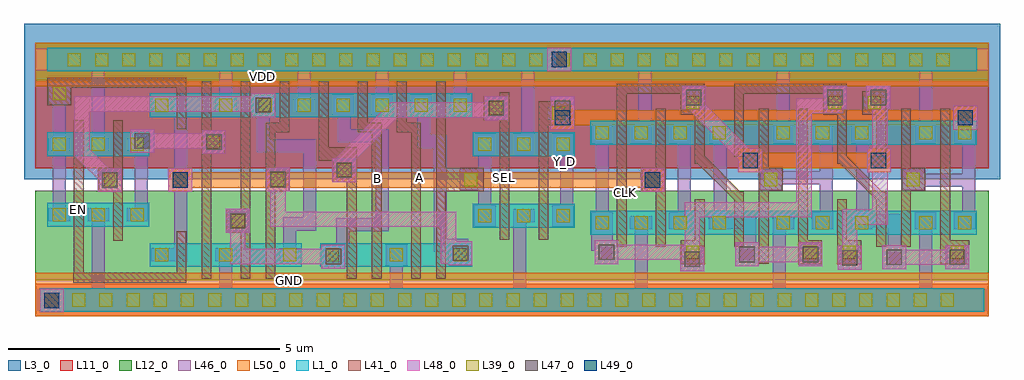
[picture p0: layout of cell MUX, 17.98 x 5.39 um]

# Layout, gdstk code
from math import pi, radians
import gdstk
lib = gdstk.Library(unit=1e-6, precision=1e-09)
def R(c, l, rs):  # rectangles x0, y0, x1, y1
    for r in rs: c.add(gdstk.rectangle(r[:2], r[2:], *l))
def A(c, l, x, y, w, h, nx, ny, dx, dy):  # array of equal rectangles
    R(c, l, [(x+i*dx, y+j*dy, x+i*dx+w, y+j*dy+h) for i in range(nx) for j in range(ny)])
def P(c, l, *ps):  # polygons
    for p in ps: c.add(gdstk.Polygon(p, *l))
L1_0 = (1, 0)
L3_0 = (3, 0)
L11_0 = (11, 0)
L12_0 = (12, 0)
L39_0 = (39, 0)
L41_0 = (41, 0)
L46_0 = (46, 0)
L47_0 = (47, 0)
L48_0 = (48, 0)
L49_0 = (49, 0)
L50_0 = (50, 0)

m2_m3_via_cdns_672215044 = lib.new_cell('M2_M3_via_CDNS_672215044340')
R(m2_m3_via_cdns_672215044, L48_0, [(-0.22,-0.22,0.22,0.22)])
R(m2_m3_via_cdns_672215044, L49_0, [(-0.14,-0.14,0.14,0.14)])
R(m2_m3_via_cdns_672215044, L50_0, [(-0.14,-0.14,0.14,0.14)])

m1_m2_via_cdns_672215044 = lib.new_cell('M1_M2_via_CDNS_672215044341')
R(m1_m2_via_cdns_672215044, L46_0, [(-0.22,-0.22,0.22,0.22)])
R(m1_m2_via_cdns_672215044, L47_0, [(-0.14,-0.14,0.14,0.14)])
R(m1_m2_via_cdns_672215044, L48_0, [(-0.22,-0.22,0.22,0.22)])

c_m2_m3_via_cdns_672215044 = lib.new_cell('M2_M3_via_CDNS_672215044342')
R(c_m2_m3_via_cdns_672215044, L48_0, [(-0.14,-0.14,0.14,0.14)])
R(c_m2_m3_via_cdns_672215044, L49_0, [(-0.14,-0.14,0.14,0.14)])
R(c_m2_m3_via_cdns_672215044, L50_0, [(-0.14,-0.14,0.14,0.14)])

c_m1_m2_via_cdns_672215044 = lib.new_cell('M1_M2_via_CDNS_672215044343')
R(c_m1_m2_via_cdns_672215044, L46_0, [(-0.29,-0.22,0.15,0.22)])
R(c_m1_m2_via_cdns_672215044, L47_0, [(-0.21,-0.14,0.07,0.14)])
R(c_m1_m2_via_cdns_672215044, L48_0, [(-0.29,-0.22,0.15,0.22)])

mux = lib.new_cell('MUX')
R(mux, L1_0, [(-9.34,-2.18,8.06,-1.74), (-7.31,-1.35,-4.51,-0.91), (-4.17,-1.35,-1.37,-0.91), (0.8,-0.76,7.92,-0.32), (-1.36,-0.63,0.52,-0.19), (-9.2,-0.61,-7.32,-0.17), (-9.2,0.69,-7.32,1.13), (-1.36,0.69,0.52,1.13), (0.8,0.9,7.92,1.34), (-7.31,1.41,-4.34,1.85), (-4.69,1.41,-1.37,1.85), (-9.2,2.25,7.92,2.69)])
R(mux, L3_0, [(-9.63,0.26,8.35,3.13)])
R(mux, L11_0, [(-9.42,-2.26,-5.16,-1.66), (-5.16,-2.26,8.14,-1.66), (-9.42,0.47,-8.34,2.07), (-9.16,0.47,-2.86,2.07), (-8.78,0.47,-5.02,2.07), (-3.74,0.47,8.14,2.07)])
R(mux, L12_0, [(-9.42,-1.6,8.14,0.05), (-8.78,-0.87,-6.46,0.05), (-9.42,2.09,8.14,2.78)])
A(mux, L39_0, -9.24, -2.08, 0.24, 0.24, 34, 1, 0.5, 0)
A(mux, L39_0, -7.21, -1.25, 0.24, 0.24, 3, 1, 1.18, 0)
A(mux, L39_0, -4.07, -1.25, 0.24, 0.24, 3, 1, 1.18, 0)
A(mux, L39_0, 0.9, -0.66, 0.24, 0.24, 4, 2, 0.72, 1.66)
A(mux, L39_0, 4.24, -0.66, 0.24, 0.24, 3, 2, 0.72, 1.66)
A(mux, L39_0, -1.26, -0.53, 0.24, 0.24, 3, 2, 0.72, 1.32)
A(mux, L39_0, -9.1, -0.51, 0.24, 0.24, 3, 2, 0.72, 1.3)
A(mux, L39_0, -6.03, 1.51, 0.24, 0.24, 7, 1, 0.72, 0)
A(mux, L39_0, -8.82, 2.35, 0.24, 0.24, 33, 1, 0.5, 0)
R(mux, L39_0, [(2.57,-1.2,2.81,-0.96), (4.73,-1.2,4.97,-0.96), (5.45,-1.2,5.69,-0.96), (7.44,-1.2,7.68,-0.96), (6.86,-0.66,7.1,-0.42), (7.58,-0.66,7.82,-0.42), (-5.8,-0.62,-5.56,-0.38), (-8.15,0.14,-7.91,0.38), (-5.08,0.14,-4.84,0.38), (-1.52,0.14,-1.28,0.38), (1.85,0.14,2.09,0.38), (4.01,0.14,4.25,0.38), (6.63,0.14,6.87,0.38), (-3.84,0.31,-3.6,0.55), (-6.26,0.83,-6.02,1.07), (6.86,1,7.1,1.24), (7.58,1,7.82,1.24), (0.1,1.36,0.34,1.6), (-1.06,1.45,-0.82,1.69), (-7.21,1.51,-6.97,1.75), (2.57,1.55,2.81,1.79), (5.19,1.55,5.43,1.79), (5.91,1.55,6.15,1.79), (-9.1,1.73,-8.86,1.97)])
R(mux, L41_0, [(-8.72,-1.64,-6.64,-1.46), (-8.71,-1.6,-8.53,1.35), (-6.82,-1.57,-6.64,-0.69), (-6.36,-1.57,-6.18,2.07), (-5.64,-1.57,-5.46,2.07), (-5.18,-1.57,-5,1.17), (-3.68,-1.57,-3.5,0.71), (-3.22,-1.57,-3.04,1.23), (-2.5,-1.57,-2.32,1.23), (-2.04,-1.57,-1.86,2.07), (2.47,-1.3,2.91,-0.86), (4.63,-1.3,5.07,-0.86), (5.35,-1.3,5.79,-0.86), (7.25,-1.3,7.43,1.56), (7.34,-1.3,7.78,-0.86), (3.91,-1.29,4.09,1.56), (5.35,-1.19,5.53,-0.1), (1.29,-0.98,1.47,1.87), (2.01,-0.98,2.19,1.56), (3.45,-0.98,3.63,0.03), (4.63,-0.98,4.81,1.56), (6.07,-0.98,6.25,0.03), (6.53,-0.98,6.71,1.56), (2.73,-0.88,2.91,-0.1), (-7.99,-0.87,-7.81,1.35), (-0.87,-0.85,-0.69,1.87), (-0.15,-0.85,0.03,1.7), (-5.9,-0.72,-5.46,-0.28), (-8.25,0.04,-7.81,0.48), (-5.18,0.04,-4.74,0.48), (-1.91,0.04,-1.16,0.48), (1.75,0.04,2.19,0.48), (3.91,0.04,4.35,0.48), (6.53,0.04,6.97,0.48), (-3.94,0.21,-3.5,0.65), (2.73,0.55,2.91,1.52), (5.35,0.55,5.53,1.76), (-4.2,0.61,-3.5,0.85), (-4.2,0.68,-4.02,2.07), (3.45,0.68,3.63,1.95), (6.07,0.68,6.25,1.5), (-6.36,0.73,-5.92,1.17), (-5.18,1.13,-4.74,1.31), (-3.48,1.13,-3.04,1.31), (-2.76,1.13,-2.32,1.31), (-4.92,1.15,-4.74,2.07), (-3.48,1.16,-3.3,2.07), (-6.82,1.19,-6.64,2.11), (-2.76,1.19,-2.58,2.07), (0,1.26,0.44,1.7), (-1.16,1.35,-0.72,1.79), (2.47,1.45,2.91,1.89), (5.09,1.45,5.53,1.89), (5.81,1.45,6.25,1.89), (-9.2,1.63,-8.76,2.07), (-9.2,1.95,-6.64,2.13)])
P(mux, L41_0, [(6.1,-0.14),(5.38,0.58),(5.38,0.66),(5.43,0.71),(5.51,0.71),(6.23,-0.01),(6.23,-0.09),(6.18,-0.14)],
  [(3.46,-0.12),(2.74,0.6),(2.74,0.68),(2.79,0.73),(2.87,0.73),(3.59,0.01),(3.59,-0.07),(3.54,-0.12)])
A(mux, L46_0, -4.15, -1.33, 0.4, 0.4, 3, 1, 1.18, 0)
A(mux, L46_0, 4.16, -0.66, 0.4, 0.32, 3, 1, 0.72, 0)
A(mux, L46_0, -9.18, -0.51, 0.4, 0.24, 3, 2, 0.72, 1.3)
A(mux, L46_0, -1.34, 0.71, 0.4, 0.4, 3, 1, 0.72, 0)
A(mux, L46_0, 1.54, 0.92, 0.4, 0.32, 3, 1, 0.72, 0)
A(mux, L46_0, -3.95, 1.43, 0.4, 0.4, 4, 1, 0.72, 0)
A(mux, L46_0, -6.11, 1.51, 0.4, 0.24, 3, 1, 0.72, 0)
R(mux, L46_0, [(-9.42,-2.16,8.14,-1.76), (-8.38,-1.92,-8.14,-0.27), (-0.62,-1.92,-0.38,-0.29), (1.62,-1.92,1.86,-0.42), (4.16,-1.92,4.4,-0.42), (6.86,-1.92,7.1,-0.49), (-6.03,-1.9,-5.79,-1.02), (-2.89,-1.9,-2.65,-1.02), (-7.29,-1.25,-6.62,-1.01), (-6.11,-1.25,-5.71,-1.01), (-4.93,-1.25,-4.53,-1.01), (2.49,-1.2,2.89,-0.96), (4.65,-1.2,5.05,-0.96), (5.37,-1.2,5.77,-0.96), (7.36,-1.2,7.76,-0.96), (0.82,-1.05,1.22,-0.34), (-5.88,-0.7,-5.48,-0.3), (1.54,-0.66,1.94,-0.42), (2.26,-0.66,2.66,-0.34), (2.98,-0.66,3.38,-0.34), (6.78,-0.66,7.18,-0.34), (7.5,-0.66,7.9,-0.34), (-1.34,-0.61,-0.94,-0.21), (0.1,-0.61,0.5,-0.21), (-1.26,-0.54,-1.02,1.05), (0.25,-0.54,0.49,1.05), (0.9,-0.54,1.14,1.05), (2.41,-0.54,2.65,1.05), (3.08,-0.54,3.32,1.05), (5.7,-0.54,5.94,1.05), (-0.62,-0.53,-0.22,-0.29), (-9.1,-0.51,-8.86,1.03), (-7.59,-0.51,-7.35,1.03), (5.03,-0.46,5.27,1.05), (7.65,-0.46,7.89,1.05), (-8.23,0.06,-7.83,0.46), (-5.16,0.06,-4.76,0.46), (-1.6,0.06,-1.2,0.46), (1.77,0.06,2.17,0.46), (3.93,0.06,4.33,0.46), (6.55,0.06,6.95,0.46), (-3.92,0.23,-3.52,0.63), (-6.34,0.75,-5.94,1.15), (-8.38,0.79,-8.14,2.4), (0.82,0.92,1.22,1.32), (4.16,0.92,4.56,1.32), (4.88,0.92,5.28,1.24), (5.6,0.92,6,1.24), (6.78,0.92,7.18,1.32), (7.5,0.92,7.9,1.32), (0.02,1.36,0.42,1.6), (-1.71,1.42,-1.47,2.4), (-6.03,1.5,-5.79,2.46), (-7.29,1.51,-6.89,1.75), (-4.59,1.51,-4.35,2.45), (-3.15,1.51,-2.91,2.46), (2.49,1.55,2.89,1.79), (5.11,1.55,5.51,1.79), (5.83,1.55,6.23,1.79), (-9.18,1.65,-8.78,1.97), (-9.42,2.27,8.14,2.67)])
P(mux, L46_0, [(7.6,-1.29),(7.44,-1.13),(7.44,-1.03),(7.51,-0.96),(7.61,-0.96),(7.77,-1.12),(7.77,-1.22),(7.7,-1.29)],
  [(3.66,-1.24),(3.59,-1.17),(3.59,-1.07),(3.69,-0.97),(3.79,-0.97),(3.86,-1.04),(3.86,-1.14),(3.76,-1.24)],
  [(0.16,1.37),(0.09,1.44),(0.09,1.54),(0.24,1.69),(0.34,1.69),(0.41,1.62),(0.41,1.52),(0.26,1.37)])
R(mux, L48_0, [(3.53,0.39,3.97,0.83), (5.9,0.39,6.34,0.83), (0.07,1.18,0.51,1.62)])
P(mux, L48_0, [(3.68,0.48),(2.57,1.59),(2.57,1.71),(2.65,1.79),(2.77,1.79),(3.88,0.68),(3.88,0.56),(3.8,0.48)],
  [(-3.79,0.48),(-3.87,0.56),(-3.87,0.68),(-2.87,1.68),(-2.75,1.68),(-2.67,1.6),(-2.67,1.48),(-3.67,0.48)],
  [(-8.11,0.11),(-8.7,0.7),(-8.7,0.82),(-8.62,0.9),(-8.5,0.9),(-7.91,0.31),(-7.91,0.19),(-7.99,0.11)])
R(mux, L50_0, [(-9.42,-2.26,8.14,-1.46), (-6.97,0.03,-6.53,0.47), (1.73,0.03,2.17,0.47), (3.53,0.39,3.97,0.83), (5.9,0.39,6.34,0.83), (7.49,1.17,7.93,1.61), (0.07,1.18,0.51,1.62), (-9.42,1.98,8.14,2.78)])
mux.add(gdstk.FlexPath([(5.53,1.93),(3.45,1.93)], 0.18, ends="flush", simple_path=True, layer=41, datatype=0))  # L41_0
mux.add(gdstk.FlexPath([(5.47,0.62),(5.44,0.62)], 0.18, ends="flush", simple_path=True, layer=41, datatype=0))  # L41_0
mux.add(gdstk.FlexPath([(2.91,1.93),(1.29,1.93)], 0.18, ends="flush", simple_path=True, layer=41, datatype=0))  # L41_0
mux.add(gdstk.FlexPath([(2.83,0.64),(2.8,0.64)], 0.18, ends="flush", simple_path=True, layer=41, datatype=0))  # L41_0
mux.add(gdstk.FlexPath([(6.79,0.25),(7.75,0.25)], 0.24, ends="flush", simple_path=True, layer=46, datatype=0))  # L46_0
mux.add(gdstk.FlexPath([(7.71,1.53),(7.71,1.12)], 0.24, ends=(0, 0.12), simple_path=True, layer=46, datatype=0))  # L46_0
mux.add(gdstk.FlexPath([(7.71,1.12),(7.72,1.12)], 0.24, ends=(0.12, 0), simple_path=True, layer=46, datatype=0))  # L46_0
mux.add(gdstk.FlexPath([(6.98,1),(6.98,2.42)], 0.24, ends="flush", simple_path=True, layer=46, datatype=0))  # L46_0
mux.add(gdstk.FlexPath([(6.4,-1.17),(6.4,-0.5)], 0.24, ends=(0, 0.12), simple_path=True, layer=46, datatype=0))  # L46_0
mux.add(gdstk.FlexPath([(6.4,-0.5),(5.83,-0.5)], 0.24, ends="extended", simple_path=True, layer=46, datatype=0))  # L46_0
mux.add(gdstk.FlexPath([(6.11,1.77),(6.11,1.69)], 0.24, ends="flush", simple_path=True, layer=46, datatype=0))  # L46_0
mux.add(gdstk.FlexPath([(5.58,-1.11),(5.58,-1.18)], 0.24, ends="flush", simple_path=True, layer=46, datatype=0))  # L46_0
mux.add(gdstk.FlexPath([(5.31,1.66),(5.31,1.77)], 0.24, ends="flush", simple_path=True, layer=46, datatype=0))  # L46_0
mux.add(gdstk.FlexPath([(4.86,-1.12),(4.86,-1.14)], 0.24, ends="flush", simple_path=True, layer=46, datatype=0))  # L46_0
mux.add(gdstk.FlexPath([(4.36,1),(4.36,2.42)], 0.24, ends="flush", simple_path=True, layer=46, datatype=0))  # L46_0
mux.add(gdstk.FlexPath([(5.14,0.29),(4.15,0.29)], 0.24, ends=(0, 0.12), simple_path=True, layer=46, datatype=0))  # L46_0
mux.add(gdstk.FlexPath([(4.15,0.29),(4.15,0.28)], 0.24, ends=(0.12, 0), simple_path=True, layer=46, datatype=0))  # L46_0
mux.add(gdstk.FlexPath([(3.74,-0.53),(3.74,-1.09)], 0.24, ends=(0.12, 0), simple_path=True, layer=46, datatype=0))  # L46_0
mux.add(gdstk.FlexPath([(3.2,-0.53),(3.74,-0.53)], 0.24, ends=(0, 0.12), simple_path=True, layer=46, datatype=0))  # L46_0
mux.add(gdstk.FlexPath([(2.71,1.67),(2.71,1.77)], 0.24, ends="flush", simple_path=True, layer=46, datatype=0))  # L46_0
mux.add(gdstk.FlexPath([(2.68,-1.23),(2.68,-1.2)], 0.24, ends="flush", simple_path=True, layer=46, datatype=0))  # L46_0
mux.add(gdstk.FlexPath([(2,0.25),(1.95,0.25)], 0.24, ends="flush", simple_path=True, layer=46, datatype=0))  # L46_0
mux.add(gdstk.FlexPath([(1.81,1),(1.81,2.42)], 0.24, ends="flush", simple_path=True, layer=46, datatype=0))  # L46_0
mux.add(gdstk.FlexPath([(1.1,-0.41),(1.1,-1.08)], 0.24, ends="flush", simple_path=True, layer=46, datatype=0))  # L46_0
mux.add(gdstk.FlexPath([(0.22,1.47),(0.22,1.37)], 0.24, ends="flush", simple_path=True, layer=46, datatype=0))  # L46_0
mux.add(gdstk.FlexPath([(0.1,2.47),(0.23,2.47)], 0.24, ends="flush", simple_path=True, layer=46, datatype=0))  # L46_0
mux.add(gdstk.FlexPath([(-0.35,0.95),(-0.35,2.37)], 0.24, ends="flush", simple_path=True, layer=46, datatype=0))  # L46_0
mux.add(gdstk.FlexPath([(-1.57,-0.95),(-1.57,-1.11)], 0.24, ends=(0.12, 0), simple_path=True, layer=46, datatype=0))  # L46_0
mux.add(gdstk.FlexPath([(-1.96,-0.95),(-1.57,-0.95)], 0.24, ends="extended", simple_path=True, layer=46, datatype=0))  # L46_0
mux.add(gdstk.FlexPath([(-1.96,0.96),(-1.96,-0.95)], 0.24, ends="extended", simple_path=True, layer=46, datatype=0))  # L46_0
mux.add(gdstk.FlexPath([(-2.27,0.96),(-1.96,0.96)], 0.24, ends="extended", simple_path=True, layer=46, datatype=0))  # L46_0
mux.add(gdstk.FlexPath([(-2.27,1.59),(-2.27,0.96)], 0.24, ends=(0, 0.12), simple_path=True, layer=46, datatype=0))  # L46_0
mux.add(gdstk.FlexPath([(-3.73,1.58),(-3.73,1.07)], 0.24, ends=(0, 0.12), simple_path=True, layer=46, datatype=0))  # L46_0
mux.add(gdstk.FlexPath([(-3.03,1.07),(-3.03,-0.57)], 0.24, ends="extended", simple_path=True, layer=46, datatype=0))  # L46_0
mux.add(gdstk.FlexPath([(-3.76,-0.57),(-3.76,-1.18)], 0.24, ends="extended", simple_path=True, layer=46, datatype=0))  # L46_0
mux.add(gdstk.FlexPath([(-3.03,-0.57),(-3.76,-0.57)], 0.24, ends="extended", simple_path=True, layer=46, datatype=0))  # L46_0
mux.add(gdstk.FlexPath([(-3.73,1.07),(-3.03,1.07)], 0.24, ends="extended", simple_path=True, layer=46, datatype=0))  # L46_0
mux.add(gdstk.FlexPath([(-3.76,-1.18),(-3.89,-1.18)], 0.24, ends=(0.12, 0), simple_path=True, layer=46, datatype=0))  # L46_0
mux.add(gdstk.FlexPath([(-3.72,0.43),(-3.73,0.43)], 0.24, ends="flush", simple_path=True, layer=46, datatype=0))  # L46_0
mux.add(gdstk.FlexPath([(-4.96,0.26),(-4.95,0.26)], 0.24, ends="flush", simple_path=True, layer=46, datatype=0))  # L46_0
mux.add(gdstk.FlexPath([(-5.22,0.88),(-4.37,0.88)], 0.24, ends="extended", simple_path=True, layer=46, datatype=0))  # L46_0
mux.add(gdstk.FlexPath([(-4.37,-0.56),(-4.73,-0.56)], 0.24, ends="extended", simple_path=True, layer=46, datatype=0))  # L46_0
mux.add(gdstk.FlexPath([(-4.37,0.88),(-4.37,-0.56)], 0.24, ends="extended", simple_path=True, layer=46, datatype=0))  # L46_0
mux.add(gdstk.FlexPath([(-4.73,-0.56),(-4.73,-1.13)], 0.24, ends="extended", simple_path=True, layer=46, datatype=0))  # L46_0
mux.add(gdstk.FlexPath([(-5.22,1.63),(-5.22,0.88)], 0.24, ends=(0, 0.12), simple_path=True, layer=46, datatype=0))  # L46_0
mux.add(gdstk.FlexPath([(-5.68,-0.5),(-5.69,-0.5)], 0.24, ends="flush", simple_path=True, layer=46, datatype=0))  # L46_0
mux.add(gdstk.FlexPath([(-6.13,0.95),(-6.14,0.95)], 0.24, ends="flush", simple_path=True, layer=46, datatype=0))  # L46_0
mux.add(gdstk.FlexPath([(-6.74,1.63),(-6.74,-1.1)], 0.24, ends=(0.12, 0), simple_path=True, layer=46, datatype=0))  # L46_0
mux.add(gdstk.FlexPath([(-7.04,1.63),(-6.74,1.63)], 0.24, ends=(0, 0.12), simple_path=True, layer=46, datatype=0))  # L46_0
mux.add(gdstk.FlexPath([(-8,0.25),(-8.05,0.25)], 0.24, ends="flush", simple_path=True, layer=46, datatype=0))  # L46_0
mux.add(gdstk.FlexPath([(-8.98,0.48),(-8.98,1.85)], 0.24, ends="flush", simple_path=True, layer=46, datatype=0))  # L46_0
mux.add(gdstk.FlexPath([(7.56,-1.17),(6.4,-1.17)], 0.28, ends="flush", simple_path=True, layer=48, datatype=0))  # L48_0
mux.add(gdstk.FlexPath([(6.14,-0.43),(6.14,1.77)], 0.28, ends=(0.14, 0), simple_path=True, layer=48, datatype=0))  # L48_0
mux.add(gdstk.FlexPath([(5.58,-0.43),(6.14,-0.43)], 0.28, ends="extended", simple_path=True, layer=48, datatype=0))  # L48_0
mux.add(gdstk.FlexPath([(5.58,-1.18),(5.58,-0.43)], 0.28, ends=(0, 0.14), simple_path=True, layer=48, datatype=0))  # L48_0
mux.add(gdstk.FlexPath([(3.71,-1.12),(4.86,-1.12)], 0.28, ends="flush", simple_path=True, layer=48, datatype=0))  # L48_0
mux.add(gdstk.FlexPath([(2.68,-1.08),(2.68,-1.21)], 0.28, ends=(0.14, 0), simple_path=True, layer=48, datatype=0))  # L48_0
mux.add(gdstk.FlexPath([(4.74,-0.3),(2.68,-0.3)], 0.28, ends="extended", simple_path=True, layer=48, datatype=0))  # L48_0
mux.add(gdstk.FlexPath([(4.74,1.62),(4.74,-0.3)], 0.28, ends="extended", simple_path=True, layer=48, datatype=0))  # L48_0
mux.add(gdstk.FlexPath([(5.32,1.62),(4.74,1.62)], 0.28, ends="extended", simple_path=True, layer=48, datatype=0))  # L48_0
mux.add(gdstk.FlexPath([(5.32,1.78),(5.32,1.62)], 0.28, ends=(0, 0.14), simple_path=True, layer=48, datatype=0))  # L48_0
mux.add(gdstk.FlexPath([(2.68,-0.3),(2.68,-1.08)], 0.28, ends="extended", simple_path=True, layer=48, datatype=0))  # L48_0
mux.add(gdstk.FlexPath([(1.1,-1.08),(2.68,-1.08)], 0.28, ends=(0, 0.14), simple_path=True, layer=48, datatype=0))  # L48_0
mux.add(gdstk.FlexPath([(2.68,-1.08),(2.73,-1.08)], 0.28, ends=(0.14, 0), simple_path=True, layer=48, datatype=0))  # L48_0
mux.add(gdstk.FlexPath([(0.29,1.57),(0.29,1.4)], 0.28, ends="flush", simple_path=True, layer=48, datatype=0))  # L48_0
mux.add(gdstk.FlexPath([(-0.95,1.54),(-0.95,1.5)], 0.28, ends="extended", simple_path=True, layer=48, datatype=0))  # L48_0
mux.add(gdstk.FlexPath([(-0.95,1.5),(-0.94,1.5)], 0.28, ends=(0.14, 0), simple_path=True, layer=48, datatype=0))  # L48_0
mux.add(gdstk.FlexPath([(-2.81,1.54),(-0.95,1.54)], 0.28, ends=(0, 0.14), simple_path=True, layer=48, datatype=0))  # L48_0
mux.add(gdstk.FlexPath([(-1.63,-1.15),(-1.63,-1.12)], 0.28, ends=(0.14, 0), simple_path=True, layer=48, datatype=0))  # L48_0
mux.add(gdstk.FlexPath([(-1.81,-1.15),(-1.63,-1.15)], 0.28, ends="extended", simple_path=True, layer=48, datatype=0))  # L48_0
mux.add(gdstk.FlexPath([(-1.81,-0.47),(-1.81,-1.15)], 0.28, ends="extended", simple_path=True, layer=48, datatype=0))  # L48_0
mux.add(gdstk.FlexPath([(-4.95,-0.47),(-1.81,-0.47)], 0.28, ends="extended", simple_path=True, layer=48, datatype=0))  # L48_0
mux.add(gdstk.FlexPath([(-4.95,0.26),(-4.95,-0.47)], 0.28, ends=(0, 0.14), simple_path=True, layer=48, datatype=0))  # L48_0
mux.add(gdstk.FlexPath([(-5.69,-1.16),(-3.93,-1.16)], 0.28, ends=(0.14, 0), simple_path=True, layer=48, datatype=0))  # L48_0
mux.add(gdstk.FlexPath([(-5.69,-0.5),(-5.69,-1.16)], 0.28, ends=(0, 0.14), simple_path=True, layer=48, datatype=0))  # L48_0
mux.add(gdstk.FlexPath([(-6.13,0.97),(-6.13,0.95)], 0.28, ends=(0.14, 0), simple_path=True, layer=48, datatype=0))  # L48_0
mux.add(gdstk.FlexPath([(-7.45,0.97),(-6.13,0.97)], 0.28, ends=(0, 0.14), simple_path=True, layer=48, datatype=0))  # L48_0
mux.add(gdstk.FlexPath([(-5.22,1.65),(-5.22,1.63)], 0.28, ends=(0.14, 0), simple_path=True, layer=48, datatype=0))  # L48_0
mux.add(gdstk.FlexPath([(-8.56,1.65),(-5.22,1.65)], 0.28, ends="extended", simple_path=True, layer=48, datatype=0))  # L48_0
mux.add(gdstk.FlexPath([(-8.56,0.76),(-8.56,1.65)], 0.28, ends=(0, 0.14), simple_path=True, layer=48, datatype=0))  # L48_0
mux.add(gdstk.FlexPath([(7.76,1.4),(7.78,1.4)], 0.28, ends=(0, 0.14), simple_path=True, layer=50, datatype=0))  # L50_0
mux.add(gdstk.FlexPath([(7.78,1.4),(7.78,1.36)], 0.28, ends=(0.14, 0), simple_path=True, layer=50, datatype=0))  # L50_0
mux.add(gdstk.FlexPath([(0.29,1.4),(7.76,1.4)], 0.28, ends="flush", simple_path=True, layer=50, datatype=0))  # L50_0
mux.add(gdstk.FlexPath([(6.11,0.61),(3.75,0.61)], 0.28, ends="flush", simple_path=True, layer=50, datatype=0))  # L50_0
mux.add(gdstk.FlexPath([(2,0.25),(-6.6,0.25)], 0.28, ends="flush", simple_path=True, layer=50, datatype=0))  # L50_0
mux.add(gdstk.Reference(m2_m3_via_cdns_672215044, (0.23,2.47)))
mux.add(gdstk.Reference(m2_m3_via_cdns_672215044, (-9.12,-1.97)))
mux.add(gdstk.Reference(m1_m2_via_cdns_672215044, (6.4,-1.17)))
mux.add(gdstk.Reference(m1_m2_via_cdns_672215044, (6.11,1.77)))
mux.add(gdstk.Reference(m1_m2_via_cdns_672215044, (5.58,-1.18)))
mux.add(gdstk.Reference(m1_m2_via_cdns_672215044, (5.31,1.77)))
mux.add(gdstk.Reference(m1_m2_via_cdns_672215044, (4.86,-1.12)))
mux.add(gdstk.Reference(m1_m2_via_cdns_672215044, (3.69,-1.12)))
mux.add(gdstk.Reference(m1_m2_via_cdns_672215044, (2.71,1.77)))
mux.add(gdstk.Reference(m1_m2_via_cdns_672215044, (2.68,-1.21)))
mux.add(gdstk.Reference(m1_m2_via_cdns_672215044, (1.1,-1.08)))
mux.add(gdstk.Reference(m1_m2_via_cdns_672215044, (0.29,1.57)))
mux.add(gdstk.Reference(m1_m2_via_cdns_672215044, (-0.93,1.57)))
mux.add(gdstk.Reference(m1_m2_via_cdns_672215044, (-1.59,-1.1)))
mux.add(gdstk.Reference(m1_m2_via_cdns_672215044, (-3.73,0.43), rotation=pi, x_reflection=True))
mux.add(gdstk.Reference(m1_m2_via_cdns_672215044, (-3.93,-1.16)))
mux.add(gdstk.Reference(m1_m2_via_cdns_672215044, (-4.95,0.26)))
mux.add(gdstk.Reference(m1_m2_via_cdns_672215044, (-5.22,1.63)))
mux.add(gdstk.Reference(m1_m2_via_cdns_672215044, (-5.69,-0.5), rotation=pi, x_reflection=True))
mux.add(gdstk.Reference(m1_m2_via_cdns_672215044, (-6.13,0.95)))
mux.add(gdstk.Reference(m1_m2_via_cdns_672215044, (-7.45,0.97)))
mux.add(gdstk.Reference(m1_m2_via_cdns_672215044, (-8.05,0.25)))
mux.add(gdstk.Reference(m1_m2_via_cdns_672215044, (7.71,1.4)))
mux.add(gdstk.Reference(m1_m2_via_cdns_672215044, (1.95,0.25)))
mux.add(gdstk.Reference(m1_m2_via_cdns_672215044, (0.23,2.47)))
mux.add(gdstk.Reference(m1_m2_via_cdns_672215044, (-6.75,0.25)))
mux.add(gdstk.Reference(m1_m2_via_cdns_672215044, (-9.12,-1.97)))
mux.add(gdstk.Reference(c_m2_m3_via_cdns_672215044, (7.71,1.4)))
mux.add(gdstk.Reference(c_m2_m3_via_cdns_672215044, (6.11,0.61)))
mux.add(gdstk.Reference(c_m2_m3_via_cdns_672215044, (3.75,0.61)))
mux.add(gdstk.Reference(c_m2_m3_via_cdns_672215044, (1.95,0.25)))
mux.add(gdstk.Reference(c_m2_m3_via_cdns_672215044, (0.29,1.4)))
mux.add(gdstk.Reference(c_m2_m3_via_cdns_672215044, (-6.75,0.25)))
mux.add(gdstk.Reference(c_m1_m2_via_cdns_672215044, (7.63,-1.17)))
mux.add(gdstk.Label('A', (-2.35,0.29), layer=100, texttype=0))
mux.add(gdstk.Label('SEL', (-0.77,0.29), layer=100, texttype=0))
mux.add(gdstk.Label('B', (-3.12,0.27), layer=100, texttype=0))
mux.add(gdstk.Label('CLK', (1.46,0.02), layer=100, texttype=0))
mux.add(gdstk.Label('EN', (-8.62,-0.29), layer=100, texttype=0))
mux.add(gdstk.Label('Y_D', (0.33,0.59), layer=101, texttype=0))
mux.add(gdstk.Label('VDD', (-5.23,2.15), layer=103, texttype=0))
mux.add(gdstk.Label('GND', (-4.74,-1.6), layer=103, texttype=0))

lib.write_gds('MUX.gds')
